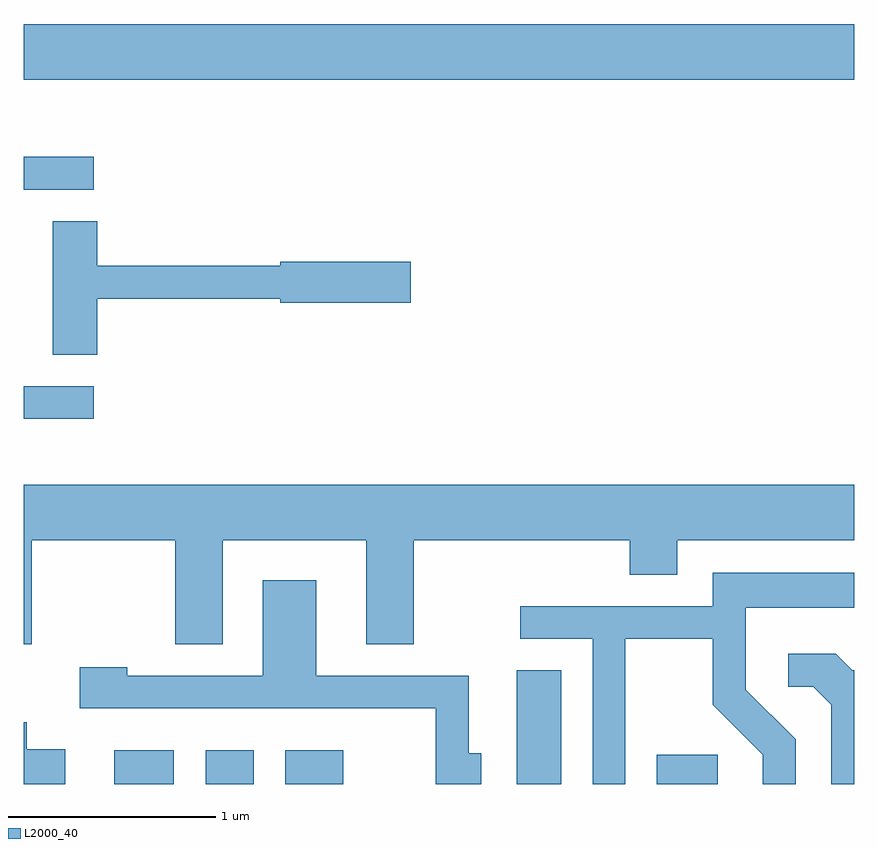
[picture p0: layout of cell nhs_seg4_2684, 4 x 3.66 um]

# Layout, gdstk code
import gdstk
lib = gdstk.Library(unit=1e-6, precision=1e-09)
def R(c, l, rs):  # rectangles x0, y0, x1, y1
    for r in rs: c.add(gdstk.rectangle(r[:2], r[2:], *l))
def P(c, l, *ps):  # polygons
    for p in ps: c.add(gdstk.Polygon(p, *l))
L2000_40 = (2000, 40)

nhs_seg4_2684 = lib.new_cell('nhs_seg4_2684')
R(nhs_seg4_2684, L2000_40, [(264.046,1317.982,264.334,1318.144), (264.486,1317.982,264.719,1318.144), (264.871,1317.982,265.149,1318.144), (265.986,1317.982,266.199,1318.529), (266.661,1317.982,266.954,1318.124), (263.611,1319.741,263.948,1319.899), (263.611,1320.846,263.948,1321.004), (263.611,1321.376,267.611,1321.644)])
P(nhs_seg4_2684, L2000_40, [(263.964,1320.321),(264.846,1320.321),(264.846,1320.301),(265.474,1320.301),(265.474,1320.499),(264.846,1320.499),(264.846,1320.479),(263.964,1320.479),(263.964,1320.694),(263.751,1320.694),(263.751,1320.051),(263.964,1320.051)],
  [(263.649,1319.156),(264.341,1319.156),(264.341,1318.656),(264.569,1318.656),(264.569,1319.156),(265.261,1319.156),(265.261,1318.656),(265.489,1318.656),(265.489,1319.156),(266.531,1319.156),(266.531,1318.991),(266.759,1318.991),(266.759,1319.156),(267.611,1319.156),(267.611,1319.424),(263.611,1319.424),(263.611,1318.656),(263.649,1318.656)],
  [(266.509,1318.681),(266.931,1318.681),(266.931,1318.364),(267.171,1318.124),(267.171,1317.982),(267.329,1317.982),(267.329,1318.197),(267.089,1318.437),(267.089,1318.831),(267.611,1318.831),(267.611,1318.999),(266.931,1318.999),(266.931,1318.839),(266.003,1318.839),(266.003,1318.681),(266.351,1318.681),(266.351,1317.982),(266.509,1317.982)],
  [(265.814,1318.129),(265.754,1318.129),(265.754,1318.504),(265.019,1318.504),(265.019,1318.964),(264.761,1318.964),(264.761,1318.504),(264.109,1318.504),(264.109,1318.544),(263.881,1318.544),(263.881,1318.346),(265.596,1318.346),(265.596,1317.982),(265.814,1317.982)],
  [(267.611,1318.529),(267.602,1318.529),(267.522,1318.609),(267.293,1318.609),(267.293,1318.451),(267.414,1318.451),(267.501,1318.364),(267.501,1317.982),(267.611,1317.982)],
  [(263.809,1318.149),(263.624,1318.149),(263.624,1318.279),(263.611,1318.279),(263.611,1317.982),(263.809,1317.982)])

lib.write_gds('nhs_seg4_2684.gds')
